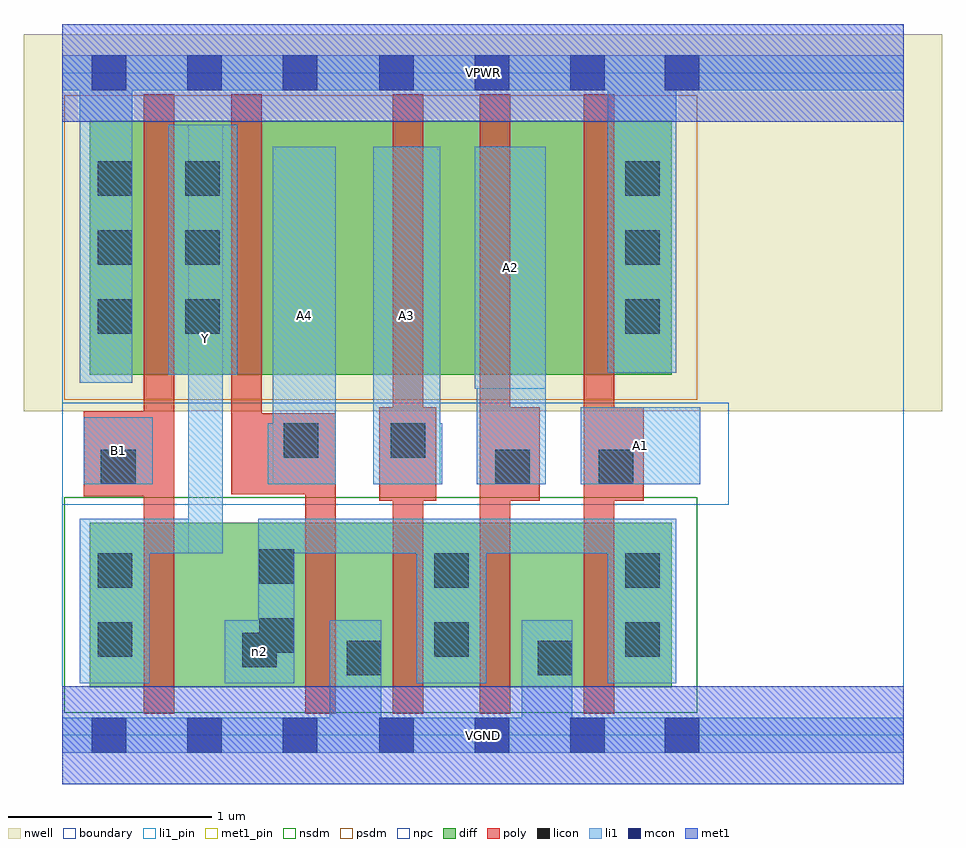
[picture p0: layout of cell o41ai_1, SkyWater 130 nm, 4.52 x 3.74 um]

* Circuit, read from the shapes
.subckt o41ai_1 A1 A2 A3 A4 B1 VGND VPWR Y n2
XM1 n2 B1 Y VSUBS sky130_fd_pr__nfet_01v8 w=0.81 l=0.15
XM2 VGND A4 n2 VSUBS sky130_fd_pr__nfet_01v8 w=0.81 l=0.15
XM3 n2 A3 VGND VSUBS sky130_fd_pr__nfet_01v8 w=0.81 l=0.15
XM4 VGND A2 n2 VSUBS sky130_fd_pr__nfet_01v8 w=0.81 l=0.15
XM5 n2 A1 VGND VSUBS sky130_fd_pr__nfet_01v8 w=0.81 l=0.15
XM6 Y B1 VPWR n1 sky130_fd_pr__pfet_01v8 w=1.25 l=0.15
XM7 n3 A4 Y n1 sky130_fd_pr__pfet_01v8 w=1.25 l=0.15
XM8 n4 A3 n3 n1 sky130_fd_pr__pfet_01v8 w=1.25 l=0.15
XM9 n5 A2 n4 n1 sky130_fd_pr__pfet_01v8 w=1.25 l=0.15
XM10 VPWR A1 n5 n1 sky130_fd_pr__pfet_01v8 w=1.25 l=0.15
.ends

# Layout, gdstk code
import gdstk
lib = gdstk.Library(unit=1e-6, precision=1e-09)
def R(c, l, rs):  # rectangles x0, y0, x1, y1
    for r in rs: c.add(gdstk.rectangle(r[:2], r[2:], *l))
def A(c, l, x, y, w, h, nx, ny, dx, dy):  # array of equal rectangles
    R(c, l, [(x+i*dx, y+j*dy, x+i*dx+w, y+j*dy+h) for i in range(nx) for j in range(ny)])
nwell = (64, 20)
diff = (65, 20)
poly = (66, 20)
licon = (66, 44)
li1_pin = (67, 16)
li1 = (67, 20)
mcon = (67, 44)
met1_pin = (68, 16)
met1 = (68, 20)
nsdm = (93, 44)
psdm = (94, 20)
npc = (95, 20)
boundary = (235, 4)

o41ai_1 = lib.new_cell('o41ai_1')
R(o41ai_1, nwell, [(-0.19,1.595,4.33,3.45), (0,1.595,4.14,3.45)])
R(o41ai_1, diff, [(0.135,0.235,3,1.045), (0.135,1.775,3,3.025)])
R(o41ai_1, poly, [(0.4,0.105,0.55,3.155), (1.195,0.105,1.345,1.585), (1.625,0.105,1.775,3.155), (2.055,0.105,2.205,3.155), (2.565,0.105,2.715,3.155), (1.56,1.155,1.84,1.615), (2.055,1.155,2.35,1.615), (2.565,1.155,2.86,1.615), (0.105,1.175,0.55,1.595), (0.83,1.185,0.98,3.155), (0.83,1.185,1.345,1.585)])
A(o41ai_1, licon, 0.175, 1.975, 0.17, 0.17, 1, 3, 0, 0.34)
A(o41ai_1, licon, 0.605, 1.975, 0.17, 0.17, 1, 3, 0, 0.34)
A(o41ai_1, licon, 2.77, 1.975, 0.17, 0.17, 1, 3, 0, 0.34)
R(o41ai_1, licon, [(1.4,0.295,1.57,0.465), (2.34,0.295,2.51,0.465), (0.885,0.335,1.055,0.505), (0.175,0.385,0.345,0.555), (1.83,0.385,2,0.555), (2.77,0.385,2.94,0.555), (0.97,0.405,1.14,0.575), (0.175,0.725,0.345,0.895), (1.83,0.725,2,0.895), (2.77,0.725,2.94,0.895), (0.97,0.745,1.14,0.915), (0.19,1.235,0.36,1.405), (2.13,1.235,2.3,1.405), (2.64,1.235,2.81,1.405), (1.09,1.365,1.26,1.535), (1.615,1.365,1.785,1.535)])
R(o41ai_1, li1_pin, [(0.62,0.895,0.79,3.005), (0.105,1.235,0.445,1.565), (1.035,1.235,1.345,2.895), (1.53,1.235,1.86,2.895), (2.55,1.235,3.14,1.615), (2.03,1.705,2.38,2.895)])
R(o41ai_1, li1, [(0,-0.085,4.14,0.085), (1.315,-0.085,1.57,0.565), (2.26,-0.085,2.51,0.565), (0.085,0.255,0.43,1.065), (0.8,0.255,1.14,0.565), (0.965,0.255,1.14,1.065), (1.745,0.255,2.085,1.065), (2.685,0.255,3.02,1.065), (0.085,0.895,0.79,1.065), (0.62,0.895,0.79,3.005), (0.965,0.895,3.02,1.065), (0.105,1.235,0.445,1.565), (1.01,1.235,1.345,1.535), (1.035,1.235,1.345,2.895), (1.53,1.235,1.86,2.895), (1.53,1.235,1.87,1.535), (2.04,1.235,2.38,2.895), (2.55,1.235,3.14,1.615), (2.03,1.705,2.38,2.895), (0.085,1.735,0.345,3.345), (0.52,1.775,0.86,3.005), (2.685,1.785,3.02,3.345), (0,3.175,4.14,3.345)])
A(o41ai_1, mcon, 0.145, -0.085, 0.17, 0.17, 3, 2, 0.47, 3.26)
A(o41ai_1, mcon, 1.56, -0.085, 0.17, 0.17, 3, 2, 0.47, 3.26)
R(o41ai_1, mcon, [(2.965,-0.085,3.135,0.085), (2.965,3.175,3.135,3.345)])
R(o41ai_1, met1_pin, [(0,-0.24,4.14,0.24), (0,3.02,4.14,3.5)])
R(o41ai_1, met1, [(0,-0.24,4.14,0.24), (0,3.02,4.14,3.5)])
R(o41ai_1, nsdm, [(0.01,0.11,3.125,1.17)])
R(o41ai_1, psdm, [(0.01,1.65,3.125,3.15)])
R(o41ai_1, npc, [(0,1.135,3.28,1.635)])
R(o41ai_1, boundary, [(0,0,4.14,3.26)])
o41ai_1.add(gdstk.Label('A1', (2.845,1.425), layer=67, texttype=5))
o41ai_1.add(gdstk.Label('A2', (2.205,2.3), layer=67, texttype=5))
o41ai_1.add(gdstk.Label('A3', (1.695,2.065), layer=67, texttype=5))
o41ai_1.add(gdstk.Label('A4', (1.19,2.065), layer=67, texttype=5))
o41ai_1.add(gdstk.Label('B1', (0.275,1.4), layer=67, texttype=5))
o41ai_1.add(gdstk.Label('Y', (0.705,1.95), layer=67, texttype=5))
o41ai_1.add(gdstk.Label('n2', (0.97,0.41), layer=67, texttype=5))
o41ai_1.add(gdstk.Label('VPWR', (2.07,3.26), layer=68, texttype=5))
o41ai_1.add(gdstk.Label('VGND', (2.07,0), layer=68, texttype=5))
o41ai_1.add(gdstk.Label('A1', (2.845,1.425), layer=67, texttype=16))
o41ai_1.add(gdstk.Label('A2', (2.205,2.3), layer=67, texttype=16))
o41ai_1.add(gdstk.Label('A3', (1.695,2.065), layer=67, texttype=16))
o41ai_1.add(gdstk.Label('A4', (1.19,2.065), layer=67, texttype=16))
o41ai_1.add(gdstk.Label('B1', (0.275,1.4), layer=67, texttype=16))
o41ai_1.add(gdstk.Label('Y', (0.705,1.95), layer=67, texttype=16))
o41ai_1.add(gdstk.Label('VPWR', (2.07,3.26), layer=68, texttype=16))
o41ai_1.add(gdstk.Label('VGND', (2.07,0), layer=68, texttype=16))

lib.write_gds('o41ai_1.gds')
